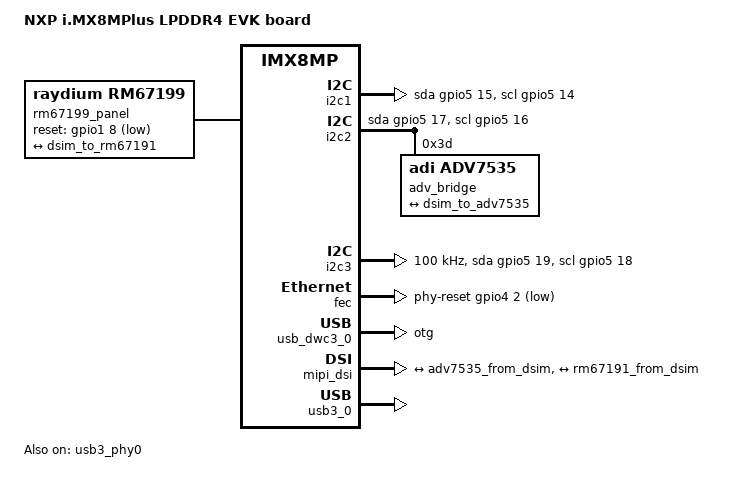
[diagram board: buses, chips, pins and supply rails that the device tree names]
// SPDX-License-Identifier: GPL-2.0+
/*
 * Copyright 2019, 2021 NXP
 */
#include "imx8mp-sec-def.h"

#include "imx8mp-u-boot.dtsi"

/ {
	model = "NXP i.MX8MPlus LPDDR4 EVK board";

	chosen {
		bootargs = "console=ttymxc1,115200 earlycon=ec_imx6q,0x30890000,115200";
	};

	wdt-reboot {
		compatible = "wdt-reboot";
		wdt = <&wdog1>;
		bootph-pre-ram;
	};

	/delete-node/ hdmi-connector;

	dsi_host: dsi-host {
		compatible = "samsung,sec-mipi-dsi";
		status = "okay";
	};

	rm67199_panel {
		compatible = "raydium,rm67199";
		pinctrl-names = "default";
		pinctrl-0 = <&pinctrl_mipi_dsi_en>;
		reset-gpio = <&gpio1 8 GPIO_ACTIVE_LOW>;
		dsi-lanes = <4>;
		video-mode = <2>;	/* 0: burst mode
					 * 1: non-burst mode with sync event
					 * 2: non-burst mode with sync pulse
					 */
		panel-width-mm = <68>;
		panel-height-mm = <121>;
		status = "okay";

		port {
			rm67191_from_dsim: endpoint {
				remote-endpoint = <&dsim_to_rm67191>;
			};
		};
	};

	mcu_rdc {
		compatible = "imx8m,mcu_rdc";
			    /* rdc config when MCU starts
			     * master
			     *   SDMA3p --> domain 1
			     *   SDMA3b --> domian 1
			     *   SDMA3_SPBA2  --> domian 1
			     * peripheral:
			     *   SAI3   --> Only Domian 1 can access
			     *   UART4  --> Only Domian 1 can access
			     *   GPT1   --> Only Domian 1 can access
			     *   SDMA3  --> Only Domian 1 can access
			     *   I2C3   --> Only Domian 1 can access
			     * memory:
			     *   TCM    --> Only Domian 1 can access (0x7E0000~0x81FFFF)
			     *   DDR    --> Only Domian 1 can access (0x80000000~0x81000000)
			     * end.
			     */
		start-config = <
			    RDC_MDA  RDC_MDA_SDMA3p DID1 0x0 0x0
			    RDC_MDA  RDC_MDA_ENET1_TX DID1 0x0 0x0
			    RDC_MDA  RDC_MDA_ENET1_RX DID1 0x0 0x0
			    RDC_MDA  RDC_MDA_SDMA3b DID1 0x0 0x0
			    RDC_MDA  RDC_MDA_SDMA3_SPBA2 DID1 0x0 0x0
			    RDC_PDAP RDC_PDAP_ENET1 PDAP_D0D1_ACCESS 0x0 0x0
			    RDC_PDAP RDC_PDAP_SAI3  PDAP_D1_ACCESS 0x0 0x0
			    RDC_PDAP RDC_PDAP_UART4 PDAP_D1_ACCESS 0x0 0x0
			    RDC_PDAP RDC_PDAP_GPT1  PDAP_D1_ACCESS 0x0 0x0
			    RDC_PDAP RDC_PDAP_SDMA3 PDAP_D1_ACCESS 0x0 0x0
			    RDC_PDAP RDC_PDAP_I2C3  PDAP_D1_ACCESS 0x0 0x0
			    RDC_MEM_REGION 22 TCM_START TCM_END MEM_D1_ACCESS
			    RDC_MEM_REGION 39 M4_DDR_START M4_DDR_END MEM_D1_ACCESS
			    0x0      0x0            0x0  0x0 0x0
			  >;
			    /* rdc config when MCU stops
			     * memory:
			     *   TCM    --> domain 0/1 can access (0x7E0000~0x81FFFF)
			     *   DDR    --> domain 0/1 can access (0x80000000~0x81000000)
			     * end.
			     */
		stop-config = <
			    RDC_MEM_REGION 22 TCM_START TCM_END MEM_D0D1_ACCESS
			    RDC_MEM_REGION 39 M4_DDR_START M4_DDR_END MEM_D0D1_ACCESS
			    0x0      0x0            0x0  0x0 0x0
			  >;
	};
};

&{/gpio-leds} {
	/delete-node/ status;

	led-0 {
		label = "yellow:status";
		gpios = <&gpio3 16 GPIO_ACTIVE_HIGH>;
		default-state = "on";
	};
};

&pinctrl_i2c1 {
	bootph-all;
};

&pinctrl_pmic {
	bootph-all;
};

&{/soc@0/bus@30800000/i2c@30a20000/pmic@25} {
	bootph-all;
};

&{/soc@0/bus@30800000/i2c@30a20000/pmic@25/regulators} {
	bootph-all;
};

&reg_usdhc2_vmmc {
	bootph-pre-ram;
	off-on-delay-us = <20000>;
};

&pinctrl_reg_usdhc2_vmmc {
	bootph-pre-ram;
};

&pinctrl_uart2 {
	bootph-pre-ram;
};

&pinctrl_usdhc2_gpio {
	bootph-pre-ram;
};

&pinctrl_usdhc2 {
	bootph-pre-ram;
};

&pinctrl_usdhc3 {
	bootph-pre-ram;
};

&pinctrl_wdog {
	bootph-pre-ram;
};

&gpio1 {
	bootph-pre-ram;
};

&gpio2 {
	bootph-pre-ram;
};

&gpio3 {
	bootph-pre-ram;
};

&gpio4 {
	bootph-pre-ram;
};

&gpio5 {
	bootph-pre-ram;
};

&uart2 {
	bootph-pre-ram;
};

&i2c1 {
	pinctrl-names = "default", "gpio";
	pinctrl-1 = <&pinctrl_i2c1_gpio>;
	scl-gpios = <&gpio5 14 GPIO_ACTIVE_HIGH>;
	sda-gpios = <&gpio5 15 GPIO_ACTIVE_HIGH>;
	bootph-all;
};

&i2c2 {
	pinctrl-names = "default", "gpio";
	pinctrl-1 = <&pinctrl_i2c2_gpio>;
	scl-gpios = <&gpio5 16 GPIO_ACTIVE_HIGH>;
	sda-gpios = <&gpio5 17 GPIO_ACTIVE_HIGH>;
	bootph-pre-ram;

	/delete-node/ hdmi@3d;

	adv_bridge: adv7535@3d {
		compatible = "adi,adv7535";
		reg = <0x3d>;
		adi,addr-cec = <0x3c>;
		adi,dsi-lanes = <4>;
		status = "okay";

		port {
			adv7535_from_dsim: endpoint {
				remote-endpoint = <&dsim_to_adv7535>;
			};
		};
	};
};

&i2c3 {
	clock-frequency = <100000>;
	pinctrl-names = "default", "gpio";
	pinctrl-1 = <&pinctrl_i2c3_gpio>;
	scl-gpios = <&gpio5 18 GPIO_ACTIVE_HIGH>;
	sda-gpios = <&gpio5 19 GPIO_ACTIVE_HIGH>;
	bootph-pre-ram;
};

&usdhc1 {
	bootph-pre-ram;
	assigned-clocks = <&clk IMX8MP_CLK_USDHC1>;
	assigned-clock-rates = <400000000>;
	assigned-clock-parents = <&clk IMX8MP_SYS_PLL1_400M>;
};

&usdhc2 {
	bootph-pre-ram;
	sd-uhs-sdr104;
	sd-uhs-ddr50;
	assigned-clocks = <&clk IMX8MP_CLK_USDHC2>;
	assigned-clock-rates = <400000000>;
	assigned-clock-parents = <&clk IMX8MP_SYS_PLL1_400M>;
};

&usdhc3 {
	bootph-pre-ram;
	mmc-hs400-1_8v;
	mmc-hs400-enhanced-strobe;
	assigned-clocks = <&clk IMX8MP_CLK_USDHC3>;
	assigned-clock-rates = <400000000>;
	assigned-clock-parents = <&clk IMX8MP_SYS_PLL1_400M>;
};

&wdog1 {
	bootph-pre-ram;
};

&ethphy0 {
	reset-gpios = <&gpio4 22 GPIO_ACTIVE_LOW>;
	reset-assert-us = <15000>;
	reset-deassert-us = <100000>;
};

&fec {
	phy-reset-gpios = <&gpio4 2 GPIO_ACTIVE_LOW>;
	phy-reset-duration = <15>;
	phy-reset-post-delay = <100>;
};

&flexspi {
	assigned-clock-parents = <&clk IMX8MP_SYS_PLL1_400M>;
};

&media_blk_ctrl {
	assigned-clocks = <&clk IMX8MP_CLK_MEDIA_AXI>,
				  <&clk IMX8MP_CLK_MEDIA_APB>,
				  <&clk IMX8MP_CLK_MEDIA_DISP1_PIX>,
				  <&clk IMX8MP_CLK_MEDIA_DISP2_PIX>,
				  <&clk IMX8MP_VIDEO_PLL1>;
	assigned-clock-parents = <&clk IMX8MP_SYS_PLL2_1000M>,
				 <&clk IMX8MP_SYS_PLL1_800M>,
				 <&clk IMX8MP_VIDEO_PLL1_OUT>,
				 <&clk IMX8MP_VIDEO_PLL1_OUT>;
	assigned-clock-rates = <500000000>, <200000000>;
};

&usb_dwc3_0 {
	compatible = "fsl,imx8mq-dwc3", "snps,dwc3";
	assigned-clocks = <&clk IMX8MP_CLK_HSIO_AXI>;
	assigned-clock-parents = <&clk IMX8MP_SYS_PLL1_800M>;
	assigned-clock-rates = <400000000>;
};

&usb_dwc3_1 {
	compatible = "fsl,imx8mq-dwc3", "snps,dwc3";
	pinctrl-names = "default", "gpio";
	pinctrl-1 = <&pinctrl_usb1_vbus_gpio>;
	assigned-clocks = <&clk IMX8MP_CLK_HSIO_AXI>;
	assigned-clock-parents = <&clk IMX8MP_SYS_PLL1_800M>;
	assigned-clock-rates = <400000000>;
};

&lcdif3 {
	status = "disabled";
};

&mipi_dsi {
	/delete-property/ assigned-clocks;
	/delete-property/ assigned-clock-parents;
	/delete-property/ assigned-clock-rates;

	ports {
		/delete-node/ port@1;

		port@1 {
			dsim_to_adv7535: endpoint {
				remote-endpoint = <&adv7535_from_dsim>;
			};
		};

		port@2 {
			dsim_to_rm67191: endpoint {
				remote-endpoint = <&rm67191_from_dsim>;
			};
		};
	};
};

&usb3_phy0 {
	fsl,phy-tx-vref-tune = <0xe>;
	fsl,phy-tx-preemp-amp-tune = <3>;
	fsl,phy-tx-vboost-level = <5>;
	fsl,phy-comp-dis-tune = <7>;
	fsl,pcs-tx-deemph-3p5db = <0x21>;
	fsl,phy-pcs-tx-swing-full = <0x7f>;
	status = "okay";
};

&usb3_0 {
	status = "okay";
};

&usb_dwc3_0 {
	dr_mode = "otg";
	hnp-disable;
	srp-disable;
	adp-disable;
	usb-role-switch;
	role-switch-default-mode = "none";
	snps,dis-u1-entry-quirk;
	snps,dis-u2-entry-quirk;
	status = "okay";
};

&iomuxc {
	pinctrl_mipi_dsi_en: mipidsiengrp {
		fsl,pins = <
			MX8MP_IOMUXC_GPIO1_IO08__GPIO1_IO08	0x16
		>;
	};

	pinctrl_i2c1_gpio: i2c1gpiogrp {
		fsl,pins = <
			MX8MP_IOMUXC_I2C1_SCL__GPIO5_IO14        	0x1c3
			MX8MP_IOMUXC_I2C1_SDA__GPIO5_IO15        	0x1c3
		>;
	};

	pinctrl_i2c2_gpio: i2c2gpiogrp {
		fsl,pins = <
			MX8MP_IOMUXC_I2C2_SCL__GPIO5_IO16        	0x1c3
			MX8MP_IOMUXC_I2C2_SDA__GPIO5_IO17        	0x1c3
		>;
	};

	pinctrl_i2c3_gpio: i2c3gpiogrp {
		fsl,pins = <
			MX8MP_IOMUXC_I2C3_SCL__GPIO5_IO18        	0x1c3
			MX8MP_IOMUXC_I2C3_SDA__GPIO5_IO19        	0x1c3
		>;
	};

	pinctrl_usb1_vbus_gpio: usb1gpiogrp {
		fsl,pins = <
			MX8MP_IOMUXC_GPIO1_IO14__GPIO1_IO14        	0x10
		>;
	};
};

&pinctrl_i2c1_gpio {
	bootph-all;
};
